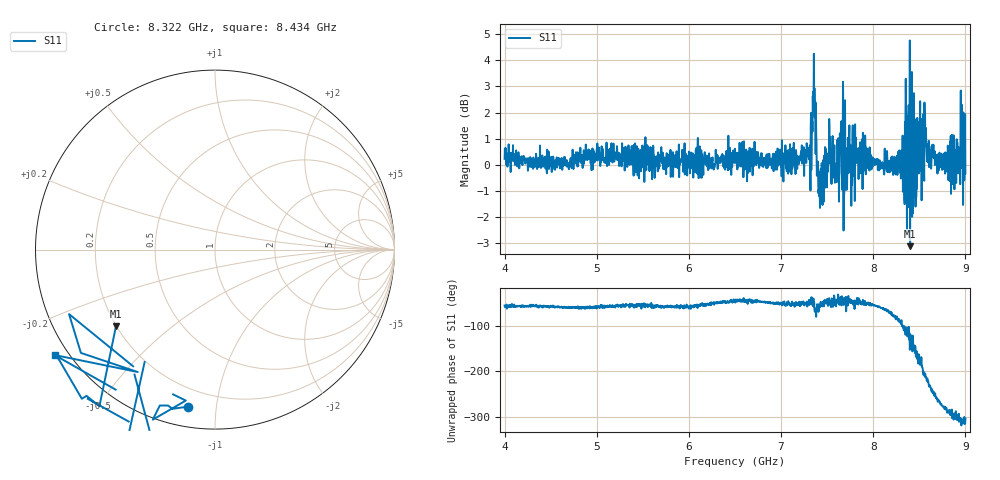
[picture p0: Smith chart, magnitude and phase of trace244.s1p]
! Created with skrf 1.8.0 (http://scikit-rf.org).
# Hz S RI R 50.0
!freq ReS11 ImS11
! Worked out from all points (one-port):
!   1601 points, 4 GHz to 9 GHz, reference 50 ohm
!   lowest |S11| = -3.1 dB at 8.4 GHz (marker M1), VSWR 5.61, Z = 9.92 - j16.5 ohm
!   |S11| at or under -10 dB: nowhere
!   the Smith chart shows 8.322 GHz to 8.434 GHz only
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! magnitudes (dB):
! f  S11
! 4 GHz  0.2
! 4.625 GHz  -0.2
! 5.25 GHz  0.0
! 5.875 GHz  0.0
! 6.5 GHz  0.6
! 7.125 GHz  0.6
! 7.294 GHz  0.6
! 7.359 GHz  2.2
! 7.4 GHz  0.1
! 7.428 GHz  -0.8
! 7.509 GHz  0.4
! 7.609 GHz  -0.2
! 7.669 GHz  0.9
! 7.703 GHz  -1.0
! 7.75 GHz  -0.3
! 8.294 GHz  -0.2
! 8.316 GHz  -0.1
! 8.334 GHz  0.1
! 8.347 GHz  0.7
! 8.375 GHz  1.4
! 8.4 GHz  -3.1
! 8.447 GHz  1.3
! 8.459 GHz  -1.6
! 8.553 GHz  -0.6
! 8.606 GHz  -0.1
! 8.869 GHz  -0.4
! 8.972 GHz  0.8
! 9 GHz  -0.3
